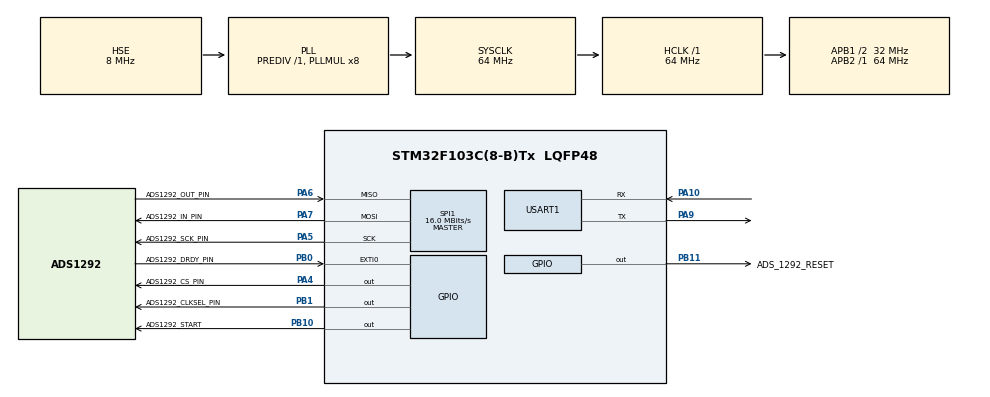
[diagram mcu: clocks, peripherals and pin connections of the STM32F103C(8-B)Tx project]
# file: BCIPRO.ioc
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Mcu.Family=STM32F1
Mcu.Name=STM32F103C(8-B)Tx
Mcu.Package=LQFP48
NVIC.EXTI0_IRQn=true\:1\:0\:true\:true\:true\:2\:true
NVIC.PriorityGroup=NVIC_PRIORITYGROUP_2
NVIC.SPI1_IRQn=true\:1\:1\:true\:true\:true\:1\:true
NVIC.USART1_IRQn=true\:0\:1\:false\:false\:true\:true
PA10.Mode=Asynchronous
PA10.Signal=USART1_RX
PA13.Mode=Serial_Wire
PA13.Signal=SYS_JTMS-SWDIO
PA14.Mode=Serial_Wire
PA14.Signal=SYS_JTCK-SWCLK
PA4.GPIO_Label=ADS1292_CS_PIN
PA4.GPIO_Speed=GPIO_SPEED_FREQ_MEDIUM
PA4.Signal=GPIO_Output
PA5.GPIO_Label=ADS1292_SCK_PIN
PA5.Mode=Full_Duplex_Master
PA5.Signal=SPI1_SCK
PA6.GPIO_Label=ADS1292_OUT_PIN
PA6.Mode=Full_Duplex_Master
PA6.Signal=SPI1_MISO
PA7.GPIO_Label=ADS1292_IN_PIN
PA7.Mode=Full_Duplex_Master
PA7.Signal=SPI1_MOSI
PA9.Mode=Asynchronous
PA9.Signal=USART1_TX
PB0.GPIO_Label=ADS1292_DRDY_PIN
PB0.GPIO_PuPd=GPIO_PULLUP
PB0.Signal=GPXTI0
PB1.GPIO_Label=ADS1292_CLKSEL_PIN
PB1.GPIO_Speed=GPIO_SPEED_FREQ_MEDIUM
PB1.Signal=GPIO_Output
PB10.GPIO_Label=ADS1292_START
PB10.GPIO_Speed=GPIO_SPEED_FREQ_MEDIUM
PB10.Signal=GPIO_Output
PB11.GPIO_Label=ADS_1292_RESET
PB11.GPIO_Speed=GPIO_SPEED_FREQ_MEDIUM
PB11.Signal=GPIO_Output
PD0-OSC_IN.Mode=HSE-External-Oscillator
PD0-OSC_IN.Signal=RCC_OSC_IN
PD1-OSC_OUT.Mode=HSE-External-Oscillator
PD1-OSC_OUT.Signal=RCC_OSC_OUT
ProjectManager.HeapSize=0x200
ProjectManager.StackSize=0x400
ProjectManager.TargetToolchain=SW4STM32
RCC.AHBFreq_Value=64000000
RCC.APB1CLKDivider=RCC_HCLK_DIV2
RCC.APB1Freq_Value=32000000
RCC.APB1TimFreq_Value=64000000
RCC.APB2Freq_Value=64000000
RCC.APB2TimFreq_Value=64000000
RCC.HCLKFreq_Value=64000000
RCC.PLLMUL=RCC_PLL_MUL8
RCC.PLLSourceVirtual=RCC_PLLSOURCE_HSE
RCC.SYSCLKFreq_VALUE=64000000
RCC.SYSCLKSource=RCC_SYSCLKSOURCE_PLLCLK
RCC.USBFreq_Value=64000000
SPI1.BaudRatePrescaler=SPI_BAUDRATEPRESCALER_4
SPI1.CLKPhase=SPI_PHASE_2EDGE
SPI1.CRCCalculation=SPI_CRCCALCULATION_DISABLE
SPI1.CalculateBaudRate=16.0 MBits/s
SPI1.Direction=SPI_DIRECTION_2LINES
SPI1.Mode=SPI_MODE_MASTER
SPI1.VirtualType=VM_MASTER
USART1.VirtualMode=VM_ASYNC
board=BCIPRO

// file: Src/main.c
/**
 ******************************************************************************
 * File Name          : main.c
 * Description        : Main program body
 ******************************************************************************
 ** This notice applies to any and all portions of this file
 * that are not between comment pairs USER CODE BEGIN and
 * USER CODE END. Other portions of this file, whether
 * inserted by the user or by software development tools
 * are owned by their respective copyright owners.
 *
 * COPYRIGHT(c) 2017 STMicroelectronics
 *
 * Redistribution and use in source and binary forms, with or without modification,
 * are permitted provided that the following conditions are met:
 *   1. Redistributions of source code must retain the above copyright notice,
 *      this list of conditions and the following disclaimer.
 *   2. Redistributions in binary form must reproduce the above copyright notice,
 *      this list of conditions and the following disclaimer in the documentation
 *      and/or other materials provided with the distribution.
 *   3. Neither the name of STMicroelectronics nor the names of its contributors
 *      may be used to endorse or promote products derived from this software
 *      without specific prior written permission.
 *
 * THIS SOFTWARE IS PROVIDED BY THE COPYRIGHT HOLDERS AND CONTRIBUTORS "AS IS"
 * AND ANY EXPRESS OR IMPLIED WARRANTIES, INCLUDING, BUT NOT LIMITED TO, THE
 * IMPLIED WARRANTIES OF MERCHANTABILITY AND FITNESS FOR A PARTICULAR PURPOSE ARE
 * DISCLAIMED. IN NO EVENT SHALL THE COPYRIGHT HOLDER OR CONTRIBUTORS BE LIABLE
 * FOR ANY DIRECT, INDIRECT, INCIDENTAL, SPECIAL, EXEMPLARY, OR CONSEQUENTIAL
 * DAMAGES (INCLUDING, BUT NOT LIMITED TO, PROCUREMENT OF SUBSTITUTE GOODS OR
 * SERVICES; LOSS OF USE, DATA, OR PROFITS; OR BUSINESS INTERRUPTION) HOWEVER
 * CAUSED AND ON ANY THEORY OF LIABILITY, WHETHER IN CONTRACT, STRICT LIABILITY,
 * OR TORT (INCLUDING NEGLIGENCE OR OTHERWISE) ARISING IN ANY WAY OUT OF THE USE
 * OF THIS SOFTWARE, EVEN IF ADVISED OF THE POSSIBILITY OF SUCH DAMAGE.
 *
 ******************************************************************************
 */
#include "main.h"
#include "stm32f1xx_hal.h"
#include "spi.h"
#include "usart.h"
#include "gpio.h"

/* USER CODE BEGIN Includes */
#include "ads1292.h"
#include "delay.h"
#include "datascope.h"
/* USER CODE END Includes */

/* USER CODE BEGIN PV */
/* Private variables ---------------------------------------------------------*/
uint8_t BCI_Data[9];
uint8_t send_num = 0;

/* USER CODE END PV */

void SystemClock_Config(void);
static void MX_NVIC_Init(void);

/* USER CODE BEGIN PFP */
/* Private function prototypes -----------------------------------------------*/

/* USER CODE END PFP */

int main(void) {

  /* MCU Configuration----------------------------------------------------------*/

  /* Reset of all peripherals, Initializes the Flash interface and the Systick. */
  HAL_Init();

  /* Configure the system clock */
  SystemClock_Config();

  /* Initialize all configured peripherals */
  MX_GPIO_Init();
  MX_USART1_UART_Init();
  MX_SPI1_Init();

  /* Initialize interrupts */
  MX_NVIC_Init();

  /* USER CODE BEGIN 2 */
  // +++退出透传模式，如果为软重启，上次TCP连接尚未断开，则这一步很关键
  char * data = "+++";
  HAL_UART_Transmit(&huart1, data, strlen(data), 100);
  delay_ms(49);
  data = "AT+CIPCLOSE\r\n";
  HAL_UART_Transmit(&huart1, data, strlen(data), 100);
  delay_ms(49);
  data = "AT+RST\r\n";
  HAL_UART_Transmit(&huart1, data, strlen(data), 100);
  ADS1292_Init();

  // WIfi Init
  char rBuf[128] = { 0 };
  int connected = 0;
  data = "AT+CIPSTATUS\r\n";
  while (!connected) {
    HAL_UART_Transmit(&huart1, data, strlen(data), 100);
    HAL_UART_Receive(&huart1, rBuf, 128, 100);
    // 判断是否连接上WiFi
    if (strcmp(rBuf, "AT+CIPSTATUS\r\r\nSTATUS:2\r\n\r\nOK\r\n") == 0) {
      connected = 1;
    }
    memset(rBuf, 0, sizeof(rBuf));
  }

  data = "AT+CIPSTART=\"TCP\",\"172.16.159.1\",23333\r\n";

  connected = 0;
  while (!connected) {
    HAL_UART_Transmit(&huart1, data, strlen(data), 100);
    HAL_UART_Receive(&huart1, rBuf, 128, 100);
    //判断是否连接上TCP服务器
    if (strcmp(rBuf,
        "AT+CIPSTART=\"TCP\",\"172.16.159.1\",23333\r\r\nCONNECT\r\n\r\nOK\r\n")
        == 0) {
      connected = 1;
    }
    memset(rBuf, 0, sizeof(rBuf));
  }
  data = "AT+CIPMODE=1\r\n";
  HAL_UART_Transmit(&huart1, data, strlen(data), 100);
  delay_ms(49);
  data = "AT+CIPSEND\r\n";
  HAL_UART_Transmit(&huart1, data, strlen(data), 100);

  ADS1292_DRDYEXTI_ENABLE();	            // Enable DRDY interrupt
  ADS1292_StreamData();

  /* USER CODE END 2 */

  /* Infinite loop */
  /* USER CODE BEGIN WHILE */
//  uint8_t text[36] = "miaomiao!!!\tmiaomiao!!!\tmiaomiao!!\r\n";
  while (1) {
    /* USER CODE END WHILE */

    /* USER CODE BEGIN 3 */
//    if(ADS_STA){
//        ADS_STA = 0;
//    }
//   HAL_UART_Transmit_IT(&huart1,text ,36);
//   HAL_Delay(47);
    delay_ms(1999);
    LED_TOGGLE;
  }
  /* USER CODE END 3 */

}

/** System Clock Configuration
 */
void SystemClock_Config(void) {

  RCC_OscInitTypeDef RCC_OscInitStruct;
  RCC_ClkInitTypeDef RCC_ClkInitStruct;

  /**Initializes the CPU, AHB and APB busses clocks
   */
  RCC_OscInitStruct.OscillatorType = RCC_OSCILLATORTYPE_HSE;
  RCC_OscInitStruct.HSEState = RCC_HSE_ON;
  RCC_OscInitStruct.HSEPredivValue = RCC_HSE_PREDIV_DIV1;
  RCC_OscInitStruct.HSIState = RCC_HSI_ON;
  RCC_OscInitStruct.PLL.PLLState = RCC_PLL_ON;
  RCC_OscInitStruct.PLL.PLLSource = RCC_PLLSOURCE_HSE;
  RCC_OscInitStruct.PLL.PLLMUL = RCC_PLL_MUL8;
  if (HAL_RCC_OscConfig(&RCC_OscInitStruct) != HAL_OK) {
    _Error_Handler(__FILE__, __LINE__);
  }

  /**Initializes the CPU, AHB and APB busses clocks
   */
  RCC_ClkInitStruct.ClockType = RCC_CLOCKTYPE_HCLK | RCC_CLOCKTYPE_SYSCLK
      | RCC_CLOCKTYPE_PCLK1 | RCC_CLOCKTYPE_PCLK2;
  RCC_ClkInitStruct.SYSCLKSource = RCC_SYSCLKSOURCE_PLLCLK;
  RCC_ClkInitStruct.AHBCLKDivider = RCC_SYSCLK_DIV1;
  RCC_ClkInitStruct.APB1CLKDivider = RCC_HCLK_DIV2;
  RCC_ClkInitStruct.APB2CLKDivider = RCC_HCLK_DIV1;

  if (HAL_RCC_ClockConfig(&RCC_ClkInitStruct, FLASH_LATENCY_2) != HAL_OK) {
    _Error_Handler(__FILE__, __LINE__);
  }

  /**Configure the Systick interrupt time
   */
  HAL_SYSTICK_Config(HAL_RCC_GetHCLKFreq() / 1000);

  /**Configure the Systick
   */
  HAL_SYSTICK_CLKSourceConfig(SYSTICK_CLKSOURCE_HCLK);

  /* SysTick_IRQn interrupt configuration */
  HAL_NVIC_SetPriority(SysTick_IRQn, 0, 0);
}

/** NVIC Configuration
 */
static void MX_NVIC_Init(void) {
  /* SPI1_IRQn interrupt configuration */
  HAL_NVIC_SetPriority(SPI1_IRQn, 1, 1);
  HAL_NVIC_EnableIRQ(SPI1_IRQn);
  /* EXTI0_IRQn interrupt configuration */
  HAL_NVIC_SetPriority(EXTI0_IRQn, 1, 0);
  HAL_NVIC_EnableIRQ(EXTI0_IRQn);
}

void _Error_Handler(char * file, int line) {
  while (1) {
  }
}

/************************ (C) COPYRIGHT STMicroelectronics *****END OF FILE****/
